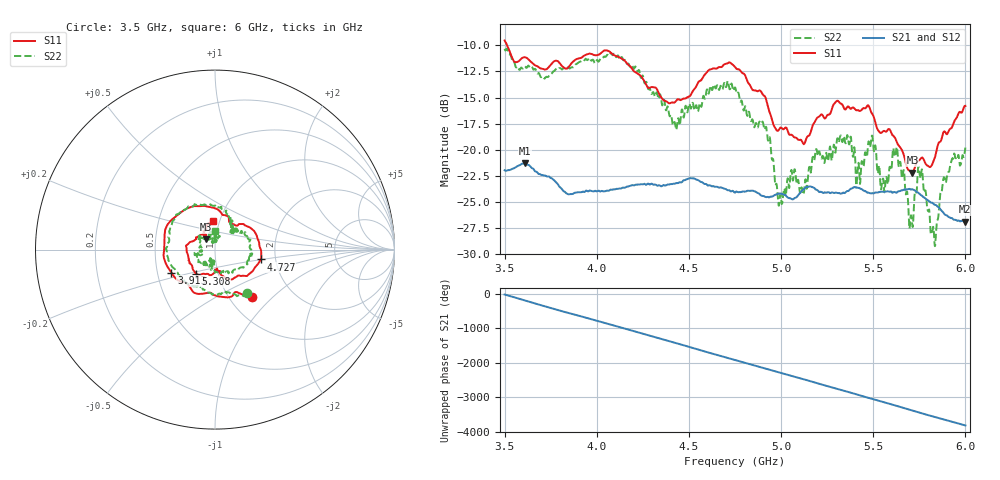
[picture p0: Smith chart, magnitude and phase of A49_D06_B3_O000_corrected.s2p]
! Created with skrf 1.9.0 (http://scikit-rf.org).
# Hz S RI R 50.0
!freq ReS11 ImS11 ReS21 ImS21 ReS12 ImS12 ReS22 ImS22
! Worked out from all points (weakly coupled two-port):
!   1601 points, 3.5 GHz to 6 GHz, reference 50 ohm
!   highest |S21| = -21.29 dB at 3.609 GHz (marker M1); lowest = -26.9 dB at 5.995 GHz (marker M2)
!   lowest |S11| = -22.2 dB at 5.713 GHz (marker M3), VSWR 1.17, Z = 44.8 + j5.26 ohm
!   |S11| at or under -10 dB: 3.514 GHz to end of sweep
!   |S22| runs from -29.2 to -10.3 dB; largest |S21 - S12| = 0.00098
!   S11 on the Smith chart (normalised r, x): 3.5 GHz: 1.27, -0.75; 3.913 GHz: 0.59, -0.17; 4.727 GHz: 1.67, -0.20; 5.308 GHz: 0.78, -0.22; 6 GHz: 0.93, +0.31
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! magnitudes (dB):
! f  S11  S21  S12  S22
! 3.5 GHz  -9.5  -22.0  -21.9  -10.3
! 3.609 GHz  -11.1  -21.3  -21.3  -12.0
! 3.913 GHz  -11.2  -24.1  -24.0  -11.5
! 3.917 GHz  -11.2  -24.1  -24.0  -11.5
! 4.334 GHz  -14.5  -23.4  -23.3  -15.1
! 4.423 GHz  -15.5  -23.2  -23.2  -17.4
! 4.727 GHz  -11.7  -24.0  -23.9  -13.9
! 4.75 GHz  -12.1  -24.1  -24.0  -14.0
! 4.911 GHz  -14.9  -24.5  -24.4  -18.1
! 4.995 GHz  -17.9  -24.2  -24.1  -24.3
! 5.167 GHz  -17.9  -23.6  -23.5  -21.2
! 5.308 GHz  -15.3  -24.1  -24.1  -18.9
! 5.419 GHz  -16.2  -23.6  -23.6  -21.4
! 5.487 GHz  -16.3  -24.2  -24.1  -19.3
! 5.584 GHz  -18.0  -24.0  -24.0  -22.4
! 5.62 GHz  -18.9  -24.1  -24.1  -20.6
! 5.713 GHz  -22.2  -23.8  -23.7  -27.3
! 5.755 GHz  -20.9  -24.3  -24.2  -22.6
! 5.83 GHz  -21.0  -25.2  -25.1  -28.1
! 5.877 GHz  -18.5  -25.9  -25.9  -23.3
! 5.995 GHz  -15.8  -26.9  -26.8  -20.4
! 6 GHz  -15.8  -26.8  -26.8  -19.8
